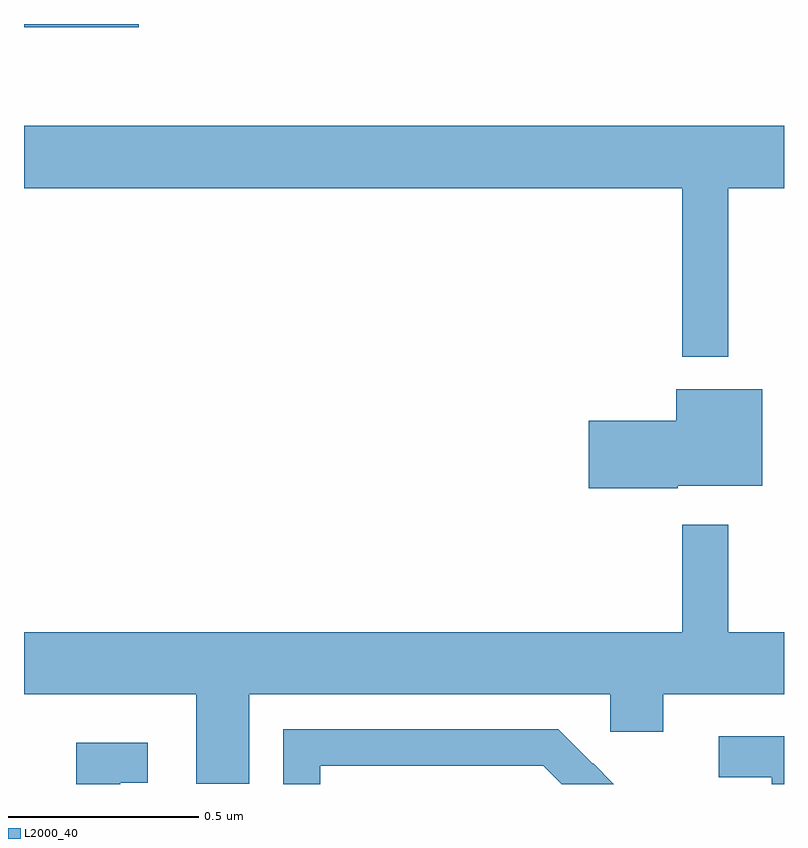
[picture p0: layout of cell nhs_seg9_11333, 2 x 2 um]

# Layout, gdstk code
import gdstk
lib = gdstk.Library(unit=1e-6, precision=1e-09)
def R(c, l, rs):  # rectangles x0, y0, x1, y1
    for r in rs: c.add(gdstk.rectangle(r[:2], r[2:], *l))
def P(c, l, *ps):  # polygons
    for p in ps: c.add(gdstk.Polygon(p, *l))
L2000_40 = (2000, 40)

nhs_seg9_11333 = lib.new_cell('nhs_seg9_11333')
R(nhs_seg9_11333, L2000_40, [(254,1215.491,254.302,1215.5)])
P(nhs_seg9_11333, L2000_40, [(255.853,1215.068),(256,1215.068),(256,1215.232),(254,1215.232),(254,1215.068),(255.732,1215.068),(255.732,1214.624),(255.853,1214.624)],
  [(255.72,1214.285),(255.943,1214.285),(255.943,1214.539),(255.716,1214.539),(255.716,1214.456),(255.486,1214.456),(255.486,1214.278),(255.72,1214.278)],
  [(256,1213.9),(255.853,1213.9),(255.853,1214.182),(255.732,1214.182),(255.732,1213.9),(254,1213.9),(254,1213.736),(254.453,1213.736),(254.453,1213.501),(254.593,1213.501),(254.593,1213.736),(255.543,1213.736),(255.543,1213.638),(255.682,1213.638),(255.682,1213.736),(256,1213.736)],
  [(254.779,1213.548),(255.367,1213.548),(255.415,1213.5),(255.552,1213.5),(255.498,1213.554),(255.497,1213.553),(255.406,1213.644),(254.682,1213.644),(254.682,1213.5),(254.779,1213.5)],
  [(256,1213.626),(255.828,1213.626),(255.828,1213.518),(255.968,1213.518),(255.968,1213.5),(256,1213.5)],
  [(254.253,1213.503),(254.326,1213.503),(254.326,1213.609),(254.137,1213.609),(254.137,1213.5),(254.253,1213.5)])

lib.write_gds('nhs_seg9_11333.gds')
